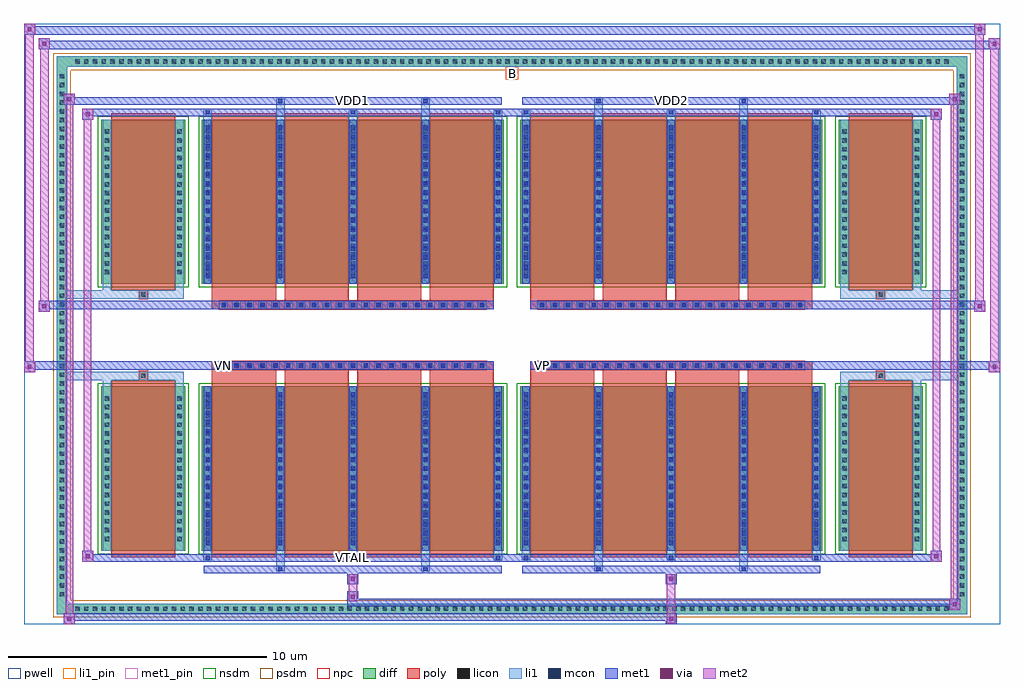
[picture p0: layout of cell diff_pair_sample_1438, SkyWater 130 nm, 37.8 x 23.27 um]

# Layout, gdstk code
import gdstk
lib = gdstk.Library(unit=1e-6, precision=5e-09)
def R(c, l, rs):  # rectangles x0, y0, x1, y1
    for r in rs: c.add(gdstk.rectangle(r[:2], r[2:], *l))
def A(c, l, x, y, w, h, nx, ny, dx, dy):  # array of equal rectangles
    R(c, l, [(x+i*dx, y+j*dy, x+i*dx+w, y+j*dy+h) for i in range(nx) for j in range(ny)])
def P(c, l, *ps):  # polygons
    for p in ps: c.add(gdstk.Polygon(p, *l))
pwell = (64, 44)
diff = (65, 20)
poly = (66, 20)
licon = (66, 44)
li1_pin = (67, 16)
li1 = (67, 20)
mcon = (67, 44)
met1_pin = (68, 16)
met1 = (68, 20)
via = (68, 44)
met2 = (69, 20)
nsdm = (93, 44)
psdm = (94, 20)
npc = (95, 20)

diff_pair_sample_1438 = lib.new_cell('diff_pair_sample_1438')
R(diff_pair_sample_1438, pwell, [(-18.9,-11.2,18.9,12.07), (-16.22,-9.39,-0.01,-0.805), (0.01,-9.39,16.22,-0.805), (-16.22,0.805,-0.01,9.39), (0.01,0.805,16.22,9.39)])
A(diff_pair_sample_1438, diff, -17.035, -10.8, 0.41, 0.41, 100, 2, 0.34, 21.19)
A(diff_pair_sample_1438, diff, -17.63, -10.235, 0.41, 0.41, 1, 60, 0, 0.34)
A(diff_pair_sample_1438, diff, 17.22, -10.235, 0.41, 0.41, 1, 60, 0, 0.34)
R(diff_pair_sample_1438, diff, [(-17.035,-10.8,17.035,-10.39), (-17.63,-10.235,-17.22,10.235), (17.22,-10.235,17.63,10.235), (-15.91,-8.345,-12.65,-1.985), (-12.01,-8.345,-0.32,-1.985), (0.32,-8.345,12.01,-1.985), (12.65,-8.345,15.91,-1.985), (-15.91,1.985,-12.65,8.345), (-12.01,1.985,-0.32,8.345), (0.32,1.985,12.01,8.345), (12.65,1.985,15.91,8.345), (-17.035,10.39,17.035,10.8)])
P(diff_pair_sample_1438, diff, [(17.63,10.8),(-17.63,10.8),(-17.63,-10.39),(-17.22,-10.39),(-17.22,10.39),(17.22,10.39),(17.22,-10.39),(-17.22,-10.39),(-17.63,-10.39),(-17.63,-10.8),(17.63,-10.8)])
A(diff_pair_sample_1438, poly, -11.62, -8.595, 2.48, 6.86, 4, 2, 2.81, 10.33)
A(diff_pair_sample_1438, poly, 0.71, -8.595, 2.48, 6.86, 4, 2, 2.81, 10.33)
A(diff_pair_sample_1438, poly, -11.62, -1.735, 2.48, 0.4, 4, 2, 2.81, 3.07)
A(diff_pair_sample_1438, poly, 0.71, -1.735, 2.48, 0.4, 4, 2, 2.81, 3.07)
A(diff_pair_sample_1438, poly, -11.33, -1.335, 0.33, 0.33, 21, 2, 0.5, 2.34)
A(diff_pair_sample_1438, poly, 1, -1.335, 0.33, 0.33, 21, 2, 0.5, 2.34)
R(diff_pair_sample_1438, poly, [(-15.52,-8.595,-13.04,-1.735), (13.04,-8.595,15.52,-1.735), (-14.445,-1.735,-14.115,-1.405), (-14.445,-1.735,-14.115,-1.405), (14.115,-1.735,14.445,-1.405), (14.115,-1.735,14.445,-1.405), (-11.62,-1.335,-0.71,-1.005), (0.71,-1.335,11.62,-1.005), (-11.62,1.005,-0.71,1.335), (0.71,1.005,11.62,1.335), (-14.445,1.405,-14.115,1.735), (-14.445,1.405,-14.115,1.735), (14.115,1.405,14.445,1.735), (14.115,1.405,14.445,1.735), (-15.52,1.735,-13.04,8.595), (13.04,1.735,15.52,8.595)])
A(diff_pair_sample_1438, licon, -16.915, -10.68, 0.17, 0.17, 100, 2, 0.34, 21.19)
A(diff_pair_sample_1438, licon, -17.51, -10.115, 0.17, 0.17, 1, 60, 0, 0.34)
A(diff_pair_sample_1438, licon, 17.34, -10.115, 0.17, 0.17, 1, 60, 0, 0.34)
A(diff_pair_sample_1438, licon, -15.77, -7.97, 0.17, 0.17, 1, 17, 0, 0.34)
A(diff_pair_sample_1438, licon, -12.96, -7.97, 0.17, 0.17, 1, 17, 0, 0.34)
A(diff_pair_sample_1438, licon, -11.87, -7.97, 0.17, 0.17, 5, 17, 2.81, 0.34)
A(diff_pair_sample_1438, licon, 0.46, -7.97, 0.17, 0.17, 5, 17, 2.81, 0.34)
A(diff_pair_sample_1438, licon, 12.79, -7.97, 0.17, 0.17, 1, 17, 0, 0.34)
A(diff_pair_sample_1438, licon, 15.6, -7.97, 0.17, 0.17, 1, 17, 0, 0.34)
A(diff_pair_sample_1438, licon, -11.25, -1.255, 0.17, 0.17, 21, 2, 0.5, 2.34)
A(diff_pair_sample_1438, licon, 1.08, -1.255, 0.17, 0.17, 21, 2, 0.5, 2.34)
A(diff_pair_sample_1438, licon, -15.77, 2.36, 0.17, 0.17, 1, 17, 0, 0.34)
A(diff_pair_sample_1438, licon, -12.96, 2.36, 0.17, 0.17, 1, 17, 0, 0.34)
A(diff_pair_sample_1438, licon, -11.87, 2.36, 0.17, 0.17, 5, 17, 2.81, 0.34)
A(diff_pair_sample_1438, licon, 0.46, 2.36, 0.17, 0.17, 5, 17, 2.81, 0.34)
A(diff_pair_sample_1438, licon, 12.79, 2.36, 0.17, 0.17, 1, 17, 0, 0.34)
A(diff_pair_sample_1438, licon, 15.6, 2.36, 0.17, 0.17, 1, 17, 0, 0.34)
R(diff_pair_sample_1438, licon, [(-14.365,-1.655,-14.195,-1.485), (14.195,-1.655,14.365,-1.485), (-14.365,1.485,-14.195,1.655), (14.195,1.485,14.365,1.655)])
R(diff_pair_sample_1438, li1_pin, [(-0.25,9.89,0.25,10.39)])
A(diff_pair_sample_1438, li1, -16.995, -10.76, 0.33, 0.33, 100, 2, 0.34, 21.19)
A(diff_pair_sample_1438, li1, -17.59, -10.195, 0.33, 0.33, 1, 60, 0, 0.34)
A(diff_pair_sample_1438, li1, 17.26, -10.195, 0.33, 0.33, 1, 60, 0, 0.34)
A(diff_pair_sample_1438, li1, -11.95, -8.72, 0.33, 0.375, 3, 2, 5.62, 17.065)
A(diff_pair_sample_1438, li1, -11.87, -8.72, 0.17, 0.17, 3, 2, 5.62, 17.27)
A(diff_pair_sample_1438, li1, 0.38, -8.72, 0.33, 0.375, 3, 2, 5.62, 17.065)
A(diff_pair_sample_1438, li1, 0.46, -8.72, 0.17, 0.17, 3, 2, 5.62, 17.27)
A(diff_pair_sample_1438, li1, -11.95, -8.345, 0.33, 6.36, 5, 2, 2.81, 10.33)
A(diff_pair_sample_1438, li1, 0.38, -8.345, 0.33, 6.36, 5, 2, 2.81, 10.33)
A(diff_pair_sample_1438, li1, -11.87, -8.13, 0.17, 0.17, 5, 17, 2.81, 0.36)
A(diff_pair_sample_1438, li1, -11.87, -8.13, 0.17, 5.93, 5, 2, 2.81, 10.33)
A(diff_pair_sample_1438, li1, 0.46, -8.13, 0.17, 0.17, 5, 17, 2.81, 0.36)
A(diff_pair_sample_1438, li1, 0.46, -8.13, 0.17, 5.93, 5, 2, 2.81, 10.33)
A(diff_pair_sample_1438, li1, -15.85, -8.05, 0.33, 0.33, 1, 17, 0, 0.34)
A(diff_pair_sample_1438, li1, -13.04, -8.05, 0.33, 0.33, 1, 17, 0, 0.34)
A(diff_pair_sample_1438, li1, -11.95, -8.05, 0.33, 0.33, 5, 17, 2.81, 0.34)
A(diff_pair_sample_1438, li1, 0.38, -8.05, 0.33, 0.33, 5, 17, 2.81, 0.34)
A(diff_pair_sample_1438, li1, 12.71, -8.05, 0.33, 0.33, 1, 17, 0, 0.34)
A(diff_pair_sample_1438, li1, 15.52, -8.05, 0.33, 0.33, 1, 17, 0, 0.34)
A(diff_pair_sample_1438, li1, -11.33, -1.335, 0.33, 0.33, 21, 2, 0.5, 2.34)
A(diff_pair_sample_1438, li1, 1, -1.335, 0.33, 0.33, 21, 2, 0.5, 2.34)
A(diff_pair_sample_1438, li1, -11.87, 2.2, 0.17, 0.17, 5, 17, 2.81, 0.36)
A(diff_pair_sample_1438, li1, 0.46, 2.2, 0.17, 0.17, 5, 17, 2.81, 0.36)
A(diff_pair_sample_1438, li1, -15.85, 2.28, 0.33, 0.33, 1, 17, 0, 0.34)
A(diff_pair_sample_1438, li1, -13.04, 2.28, 0.33, 0.33, 1, 17, 0, 0.34)
A(diff_pair_sample_1438, li1, -11.95, 2.28, 0.33, 0.33, 5, 17, 2.81, 0.34)
A(diff_pair_sample_1438, li1, 0.38, 2.28, 0.33, 0.33, 5, 17, 2.81, 0.34)
A(diff_pair_sample_1438, li1, 12.71, 2.28, 0.33, 0.33, 1, 17, 0, 0.34)
A(diff_pair_sample_1438, li1, 15.52, 2.28, 0.33, 0.33, 1, 17, 0, 0.34)
R(diff_pair_sample_1438, li1, [(-17.63,-10.8,-17.22,-10.39), (-17.63,-10.8,-17.22,-10.39), (-17.22,-10.8,17.22,-10.39), (17.22,-10.8,17.63,-10.39), (17.22,-10.8,17.63,-10.39), (-17.63,-10.39,-17.22,10.39), (17.22,-10.39,17.63,10.39), (-9.14,-9.15,-8.81,-8.345), (-9.06,-9.15,-8.89,-8.98), (-3.52,-9.15,-3.19,-8.345), (-3.44,-9.15,-3.27,-8.98), (3.19,-9.15,3.52,-8.345), (3.27,-9.15,3.44,-8.98), (8.81,-9.15,9.14,-8.345), (8.89,-9.15,9.06,-8.98), (-15.85,-8.345,-15.52,-1.985), (-13.04,-8.345,-12.71,-1.985), (12.71,-8.345,13.04,-1.985), (15.52,-8.345,15.85,-1.985), (-15.85,-1.985,-15.52,-1.405), (-13.04,-1.985,-12.71,-1.405), (12.71,-1.985,13.04,-1.405), (15.52,-1.985,15.85,-1.405), (-17.63,-1.735,-14.445,-1.405), (-15.85,-1.735,-14.445,-1.405), (-14.445,-1.735,-14.115,-1.405), (-14.115,-1.735,-12.71,-1.405), (12.71,-1.735,14.115,-1.405), (14.115,-1.735,14.445,-1.405), (14.115,-1.735,17.63,-1.405), (14.445,-1.735,15.85,-1.405), (-17.63,1.405,-14.445,1.735), (-15.85,1.405,-14.445,1.735), (-15.85,1.405,-15.52,1.985), (-14.445,1.405,-14.115,1.735), (-14.115,1.405,-12.71,1.735), (-13.04,1.405,-12.71,1.985), (12.71,1.405,14.115,1.735), (12.71,1.405,13.04,1.985), (14.115,1.405,14.445,1.735), (14.115,1.405,17.63,1.735), (14.445,1.405,15.85,1.735), (15.52,1.405,15.85,1.985), (-15.85,1.985,-15.52,8.345), (-13.04,1.985,-12.71,8.345), (12.71,1.985,13.04,8.345), (15.52,1.985,15.85,8.345), (-9.14,8.345,-8.81,9.15), (-3.52,8.345,-3.19,9.15), (3.19,8.345,3.52,9.15), (8.81,8.345,9.14,9.15), (-9.06,8.98,-8.89,9.15), (-3.44,8.98,-3.27,9.15), (3.27,8.98,3.44,9.15), (8.89,8.98,9.06,9.15), (-17.63,10.39,-17.22,10.8), (-17.63,10.39,-17.22,10.8), (-17.22,10.39,17.22,10.8), (17.22,10.39,17.63,10.8), (17.22,10.39,17.63,10.8)])
A(diff_pair_sample_1438, mcon, -11.87, -8.72, 0.17, 0.17, 3, 2, 5.62, 17.27)
A(diff_pair_sample_1438, mcon, 0.46, -8.72, 0.17, 0.17, 3, 2, 5.62, 17.27)
A(diff_pair_sample_1438, mcon, -11.87, -8.13, 0.17, 0.17, 5, 17, 2.81, 0.36)
A(diff_pair_sample_1438, mcon, 0.46, -8.13, 0.17, 0.17, 5, 17, 2.81, 0.36)
A(diff_pair_sample_1438, mcon, -11.25, -1.255, 0.17, 0.17, 21, 2, 0.5, 2.34)
A(diff_pair_sample_1438, mcon, 1.08, -1.255, 0.17, 0.17, 21, 2, 0.5, 2.34)
A(diff_pair_sample_1438, mcon, -11.87, 2.2, 0.17, 0.17, 5, 17, 2.81, 0.36)
A(diff_pair_sample_1438, mcon, 0.46, 2.2, 0.17, 0.17, 5, 17, 2.81, 0.36)
R(diff_pair_sample_1438, mcon, [(-9.06,-9.15,-8.89,-8.98), (-3.44,-9.15,-3.27,-8.98), (3.27,-9.15,3.44,-8.98), (8.89,-9.15,9.06,-8.98), (-9.06,8.98,-8.89,9.15), (-3.44,8.98,-3.27,9.15), (3.27,8.98,3.44,9.15), (8.89,8.98,9.06,9.15)])
R(diff_pair_sample_1438, met1_pin, [(-6.3,-8.76,-6.03,-8.49), (-11.3,-1.295,-11.03,-1.025), (1.03,-1.295,1.3,-1.025), (-6.3,8.94,-6.03,9.21), (6.03,8.94,6.3,9.21)])
A(diff_pair_sample_1438, met1, -11.93, -8.78, 0.29, 0.29, 3, 2, 5.62, 17.27)
A(diff_pair_sample_1438, met1, 0.4, -8.78, 0.29, 0.29, 3, 2, 5.62, 17.27)
A(diff_pair_sample_1438, met1, -11.93, -8.345, 0.29, 6.36, 5, 2, 2.81, 10.33)
A(diff_pair_sample_1438, met1, 0.4, -8.345, 0.29, 6.36, 5, 2, 2.81, 10.33)
A(diff_pair_sample_1438, met1, -11.93, -8.19, 0.29, 0.29, 5, 17, 2.81, 0.36)
A(diff_pair_sample_1438, met1, 0.4, -8.19, 0.29, 0.29, 5, 17, 2.81, 0.36)
A(diff_pair_sample_1438, met1, -11.31, -1.315, 0.29, 0.29, 21, 2, 0.5, 2.34)
A(diff_pair_sample_1438, met1, 1.02, -1.315, 0.29, 0.29, 21, 2, 0.5, 2.34)
A(diff_pair_sample_1438, met1, -11.93, 2.14, 0.29, 0.29, 5, 17, 2.81, 0.36)
A(diff_pair_sample_1438, met1, 0.4, 2.14, 0.29, 0.29, 5, 17, 2.81, 0.36)
R(diff_pair_sample_1438, met1, [(-17.36,-11.2,-16.93,-10.77), (5.95,-11.2,6.38,-10.77), (-17.36,-11.06,6.38,-10.77), (16.93,-10.63,17.36,-10.2), (-6.38,-10.49,17.36,-10.2), (-6.38,-10.35,-5.95,-9.92), (-6.38,-9.64,-5.95,-9.21), (5.95,-9.64,6.38,-9.21), (-11.93,-9.21,-0.4,-8.92), (-9.12,-9.21,-8.83,-8.92), (-3.5,-9.21,-3.21,-8.92), (0.4,-9.21,11.93,-8.92), (3.21,-9.21,3.5,-8.92), (8.83,-9.21,9.12,-8.92), (-16.65,-8.78,-16.22,-8.35), (-16.65,-8.78,-11.93,-8.49), (-11.93,-8.78,-0.4,-8.49), (-0.4,-8.78,0.4,-8.49), (0.4,-8.78,11.93,-8.49), (11.93,-8.78,16.65,-8.49), (16.22,-8.78,16.65,-8.35), (-18.9,-1.435,-18.47,-1.005), (18.47,-1.435,18.9,-1.005), (-18.9,-1.335,-0.71,-1.005), (-11.62,-1.335,-0.71,-1.005), (0.71,-1.335,11.62,-1.005), (0.71,-1.335,18.9,-1.005), (-18.33,0.905,-17.9,1.335), (17.9,0.905,18.33,1.335), (-18.33,1.005,-11.62,1.335), (-11.62,1.005,-0.71,1.335), (0.71,1.005,11.62,1.335), (11.62,1.005,18.33,1.335), (-16.65,8.35,-16.22,8.78), (16.22,8.35,16.65,8.78), (-16.65,8.49,-11.93,8.78), (-11.93,8.49,-0.4,8.78), (-0.4,8.49,0.4,8.78), (0.4,8.49,11.93,8.78), (11.93,8.49,16.65,8.78), (-17.36,8.92,-16.93,9.35), (-17.36,8.92,-11.93,9.21), (-11.93,8.92,-0.4,9.21), (-9.12,8.92,-8.83,9.21), (-3.5,8.92,-3.21,9.21), (0.4,8.92,11.93,9.21), (3.21,8.92,3.5,9.21), (8.83,8.92,9.12,9.21), (11.93,8.92,17.36,9.21), (16.93,8.92,17.36,9.35), (-18.33,11.07,-17.9,11.5), (-18.33,11.07,-16.22,11.4), (-16.22,11.07,16.22,11.4), (16.22,11.07,18.9,11.4), (18.47,11.07,18.9,11.5), (-18.9,11.64,-18.47,12.07), (-18.9,11.64,-16.22,11.97), (-16.22,11.64,16.22,11.97), (16.22,11.64,18.33,11.97), (17.9,11.64,18.33,12.07)])
R(diff_pair_sample_1438, via, [(-17.22,-11.06,-17.07,-10.91), (6.09,-11.06,6.24,-10.91), (17.07,-10.49,17.22,-10.34), (-6.24,-10.21,-6.09,-10.06), (-6.24,-9.5,-6.09,-9.35), (6.09,-9.5,6.24,-9.35), (-16.51,-8.64,-16.36,-8.49), (16.36,-8.64,16.51,-8.49), (-18.76,-1.295,-18.61,-1.145), (18.61,-1.295,18.76,-1.145), (-18.19,1.045,-18.04,1.195), (18.04,1.045,18.19,1.195), (-16.51,8.49,-16.36,8.64), (16.36,8.49,16.51,8.64), (-17.22,9.06,-17.07,9.21), (17.07,9.06,17.22,9.21), (-18.19,11.21,-18.04,11.36), (18.61,11.21,18.76,11.36), (-18.76,11.78,-18.61,11.93), (18.04,11.78,18.19,11.93)])
R(diff_pair_sample_1438, met2, [(-17.36,-11.2,-16.93,-10.77), (-17.29,-11.2,-17,9.35), (-17,-11.2,-16.93,-10.77), (-17.31,-11.15,-16.98,-10.82), (6,-11.15,6.33,-10.82), (6,-10.82,6.33,-9.59), (16.93,-10.63,17.36,-10.2), (17,-10.63,17.29,9.35), (17.29,-10.63,17.36,-10.2), (16.98,-10.58,17.31,-10.25), (-6.33,-10.3,-6,-9.97), (-6.33,-9.97,-6,-9.59), (-6.33,-9.59,-6,-9.26), (6,-9.59,6.33,-9.26), (-16.65,-8.78,-16.22,-8.35), (-16.58,-8.78,-16.29,8.78), (-16.29,-8.78,-16.22,-8.35), (16.22,-8.78,16.65,-8.35), (16.29,-8.78,16.58,8.78), (16.58,-8.78,16.65,-8.35), (-16.6,-8.73,-16.27,-8.4), (16.27,-8.73,16.6,-8.4), (-18.9,-1.435,-18.47,-1.005), (-18.85,-1.435,-18.52,12.07), (-18.52,-1.435,-18.47,-1.005), (18.47,-1.435,18.9,-1.005), (18.52,-1.435,18.85,11.5), (18.85,-1.435,18.9,-1.005), (-18.85,-1.385,-18.52,-1.055), (18.52,-1.385,18.85,-1.055), (-18.33,0.905,-17.9,1.335), (-18.28,0.905,-17.95,11.5), (-17.95,0.905,-17.9,1.335), (17.9,0.905,18.33,1.335), (17.95,0.905,18.28,12.07), (18.28,0.905,18.33,1.335), (-18.28,0.955,-17.95,1.285), (17.95,0.955,18.28,1.285), (-16.65,8.35,-16.22,8.78), (-16.29,8.35,-16.22,8.78), (16.22,8.35,16.65,8.78), (16.58,8.35,16.65,8.78), (-16.6,8.4,-16.27,8.73), (16.27,8.4,16.6,8.73), (-17.36,8.92,-16.93,9.35), (-17,8.92,-16.93,9.35), (16.93,8.92,17.36,9.35), (17.29,8.92,17.36,9.35), (-17.31,8.97,-16.98,9.3), (16.98,8.97,17.31,9.3), (-18.33,11.07,-17.9,11.5), (-17.95,11.07,-17.9,11.5), (18.47,11.07,18.9,11.5), (18.85,11.07,18.9,11.5), (-18.28,11.12,-17.95,11.45), (18.52,11.12,18.85,11.45), (-18.9,11.64,-18.47,12.07), (-18.52,11.64,-18.47,12.07), (17.9,11.64,18.33,12.07), (18.28,11.64,18.33,12.07), (-18.85,11.69,-18.52,12.02), (17.95,11.69,18.28,12.02)])
R(diff_pair_sample_1438, nsdm, [(-16.04,-8.475,-12.52,-1.855), (-12.14,-8.475,-0.19,-1.855), (0.19,-8.475,12.14,-1.855), (12.52,-8.475,16.04,-1.855), (-16.04,1.855,-12.52,8.475), (-12.14,1.855,-0.19,8.475), (0.19,1.855,12.14,8.475), (12.52,1.855,16.04,8.475)])
P(diff_pair_sample_1438, psdm, [(17.76,10.93),(-17.76,10.93),(-17.76,-10.26),(-17.09,-10.26),(-17.09,10.26),(17.09,10.26),(17.09,-10.26),(-17.09,-10.26),(-17.76,-10.26),(-17.76,-10.93),(17.76,-10.93)])
A(diff_pair_sample_1438, npc, -11.35, -1.355, 0.37, 0.37, 21, 2, 0.5, 2.34)
A(diff_pair_sample_1438, npc, 0.98, -1.355, 0.37, 0.37, 21, 2, 0.5, 2.34)
R(diff_pair_sample_1438, npc, [(-14.465,-1.755,-14.095,-1.385), (14.095,-1.755,14.465,-1.385), (-11.35,-1.355,-10.48,-0.985), (-11.35,-1.355,-10.48,-0.985), (-10.85,-1.355,-9.98,-0.985), (-10.85,-1.355,-9.98,-0.985), (-10.35,-1.355,-9.48,-0.985), (-10.35,-1.355,-9.48,-0.985), (-9.85,-1.355,-8.98,-0.985), (-9.85,-1.355,-8.98,-0.985), (-9.35,-1.355,-8.48,-0.985), (-9.35,-1.355,-8.48,-0.985), (-8.85,-1.355,-7.98,-0.985), (-8.85,-1.355,-7.98,-0.985), (-8.35,-1.355,-7.48,-0.985), (-8.35,-1.355,-7.48,-0.985), (-7.85,-1.355,-6.98,-0.985), (-7.85,-1.355,-6.98,-0.985), (-7.35,-1.355,-6.48,-0.985), (-7.35,-1.355,-6.48,-0.985), (-6.85,-1.355,-5.98,-0.985), (-6.85,-1.355,-5.98,-0.985), (-6.35,-1.355,-5.48,-0.985), (-6.35,-1.355,-5.48,-0.985), (-5.85,-1.355,-4.98,-0.985), (-5.85,-1.355,-4.98,-0.985), (-5.35,-1.355,-4.48,-0.985), (-5.35,-1.355,-4.48,-0.985), (-4.85,-1.355,-3.98,-0.985), (-4.85,-1.355,-3.98,-0.985), (-4.35,-1.355,-3.48,-0.985), (-4.35,-1.355,-3.48,-0.985), (-3.85,-1.355,-2.98,-0.985), (-3.85,-1.355,-2.98,-0.985), (-3.35,-1.355,-2.48,-0.985), (-3.35,-1.355,-2.48,-0.985), (-2.85,-1.355,-1.98,-0.985), (-2.85,-1.355,-1.98,-0.985), (-2.35,-1.355,-1.48,-0.985), (-2.35,-1.355,-1.48,-0.985), (-1.85,-1.355,-0.98,-0.985), (-1.85,-1.355,-0.98,-0.985), (0.98,-1.355,1.85,-0.985), (0.98,-1.355,1.85,-0.985), (1.48,-1.355,2.35,-0.985), (1.48,-1.355,2.35,-0.985), (1.98,-1.355,2.85,-0.985), (1.98,-1.355,2.85,-0.985), (2.48,-1.355,3.35,-0.985), (2.48,-1.355,3.35,-0.985), (2.98,-1.355,3.85,-0.985), (2.98,-1.355,3.85,-0.985), (3.48,-1.355,4.35,-0.985), (3.48,-1.355,4.35,-0.985), (3.98,-1.355,4.85,-0.985), (3.98,-1.355,4.85,-0.985), (4.48,-1.355,5.35,-0.985), (4.48,-1.355,5.35,-0.985), (4.98,-1.355,5.85,-0.985), (4.98,-1.355,5.85,-0.985), (5.48,-1.355,6.35,-0.985), (5.48,-1.355,6.35,-0.985), (5.98,-1.355,6.85,-0.985), (5.98,-1.355,6.85,-0.985), (6.48,-1.355,7.35,-0.985), (6.48,-1.355,7.35,-0.985), (6.98,-1.355,7.85,-0.985), (6.98,-1.355,7.85,-0.985), (7.48,-1.355,8.35,-0.985), (7.48,-1.355,8.35,-0.985), (7.98,-1.355,8.85,-0.985), (7.98,-1.355,8.85,-0.985), (8.48,-1.355,9.35,-0.985), (8.48,-1.355,9.35,-0.985), (8.98,-1.355,9.85,-0.985), (8.98,-1.355,9.85,-0.985), (9.48,-1.355,10.35,-0.985), (9.48,-1.355,10.35,-0.985), (9.98,-1.355,10.85,-0.985), (9.98,-1.355,10.85,-0.985), (10.48,-1.355,11.35,-0.985), (10.48,-1.355,11.35,-0.985), (-11.35,0.985,-10.48,1.355), (-11.35,0.985,-10.48,1.355), (-10.85,0.985,-9.98,1.355), (-10.85,0.985,-9.98,1.355), (-10.35,0.985,-9.48,1.355), (-10.35,0.985,-9.48,1.355), (-9.85,0.985,-8.98,1.355), (-9.85,0.985,-8.98,1.355), (-9.35,0.985,-8.48,1.355), (-9.35,0.985,-8.48,1.355), (-8.85,0.985,-7.98,1.355), (-8.85,0.985,-7.98,1.355), (-8.35,0.985,-7.48,1.355), (-8.35,0.985,-7.48,1.355), (-7.85,0.985,-6.98,1.355), (-7.85,0.985,-6.98,1.355), (-7.35,0.985,-6.48,1.355), (-7.35,0.985,-6.48,1.355), (-6.85,0.985,-5.98,1.355), (-6.85,0.985,-5.98,1.355), (-6.35,0.985,-5.48,1.355), (-6.35,0.985,-5.48,1.355), (-5.85,0.985,-4.98,1.355), (-5.85,0.985,-4.98,1.355), (-5.35,0.985,-4.48,1.355), (-5.35,0.985,-4.48,1.355), (-4.85,0.985,-3.98,1.355), (-4.85,0.985,-3.98,1.355), (-4.35,0.985,-3.48,1.355), (-4.35,0.985,-3.48,1.355), (-3.85,0.985,-2.98,1.355), (-3.85,0.985,-2.98,1.355), (-3.35,0.985,-2.48,1.355), (-3.35,0.985,-2.48,1.355), (-2.85,0.985,-1.98,1.355), (-2.85,0.985,-1.98,1.355), (-2.35,0.985,-1.48,1.355), (-2.35,0.985,-1.48,1.355), (-1.85,0.985,-0.98,1.355), (-1.85,0.985,-0.98,1.355), (0.98,0.985,1.85,1.355), (0.98,0.985,1.85,1.355), (1.48,0.985,2.35,1.355), (1.48,0.985,2.35,1.355), (1.98,0.985,2.85,1.355), (1.98,0.985,2.85,1.355), (2.48,0.985,3.35,1.355), (2.48,0.985,3.35,1.355), (2.98,0.985,3.85,1.355), (2.98,0.985,3.85,1.355), (3.48,0.985,4.35,1.355), (3.48,0.985,4.35,1.355), (3.98,0.985,4.85,1.355), (3.98,0.985,4.85,1.355), (4.48,0.985,5.35,1.355), (4.48,0.985,5.35,1.355), (4.98,0.985,5.85,1.355), (4.98,0.985,5.85,1.355), (5.48,0.985,6.35,1.355), (5.48,0.985,6.35,1.355), (5.98,0.985,6.85,1.355), (5.98,0.985,6.85,1.355), (6.48,0.985,7.35,1.355), (6.48,0.985,7.35,1.355), (6.98,0.985,7.85,1.355), (6.98,0.985,7.85,1.355), (7.48,0.985,8.35,1.355), (7.48,0.985,8.35,1.355), (7.98,0.985,8.85,1.355), (7.98,0.985,8.85,1.355), (8.48,0.985,9.35,1.355), (8.48,0.985,9.35,1.355), (8.98,0.985,9.85,1.355), (8.98,0.985,9.85,1.355), (9.48,0.985,10.35,1.355), (9.48,0.985,10.35,1.355), (9.98,0.985,10.85,1.355), (9.98,0.985,10.85,1.355), (10.48,0.985,11.35,1.355), (10.48,0.985,11.35,1.355), (-14.465,1.385,-14.095,1.755), (14.095,1.385,14.465,1.755)])
diff_pair_sample_1438.add(gdstk.Label('VTAIL', (-6.165,-8.625), layer=68, texttype=5))
diff_pair_sample_1438.add(gdstk.Label('VN', (-11.165,-1.16), layer=68, texttype=5))
diff_pair_sample_1438.add(gdstk.Label('VP', (1.165,-1.16), layer=68, texttype=5))
diff_pair_sample_1438.add(gdstk.Label('B', (0,10.14), layer=67, texttype=5))
diff_pair_sample_1438.add(gdstk.Label('VDD2', (6.165,9.075), layer=68, texttype=5))
diff_pair_sample_1438.add(gdstk.Label('VDD1', (-6.165,9.075), layer=68, texttype=5))

lib.write_gds('diff_pair_sample_1438.gds')
